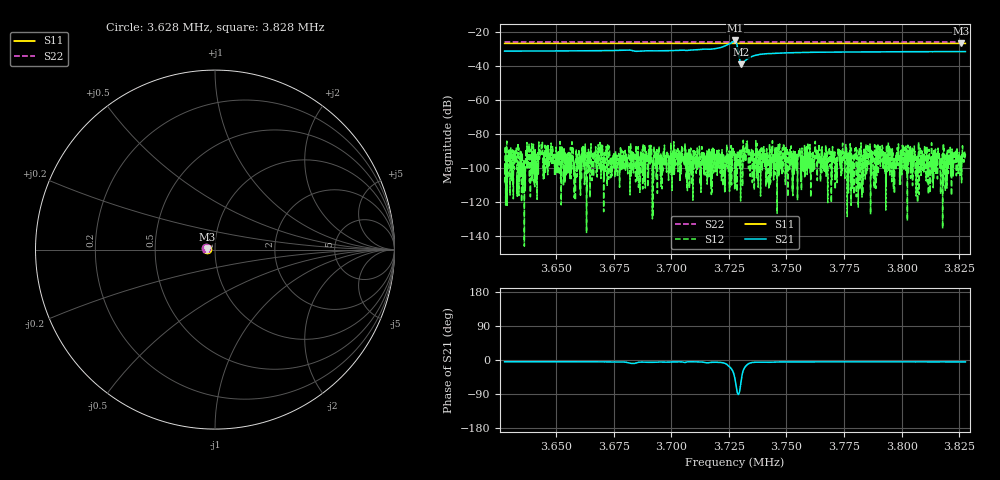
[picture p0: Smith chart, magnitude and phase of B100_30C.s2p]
# Hz S dB R 50.000
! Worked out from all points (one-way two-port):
!   6401 points, 3.628 MHz to 3.828 MHz, reference 50 ohm
!   highest |S21| = -25.01 dB at 3.728 MHz (marker M1); lowest = -39.1 dB at 3.73 MHz (marker M2)
!   lowest |S11| = -26.8 dB at 3.826 MHz (marker M3), VSWR 1.10, Z = 45.6 + j0.344 ohm
!   |S11| at or under -10 dB: start of sweep to end of sweep
!   |S22| runs from -26.0 to -25.9 dB; largest |S21 - S12| = 0.056
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3627656  -26.74 173.6  -31.29 -4.6  -108.75 -87.8  -25.86 172.0
3661000  -26.74 173.9  -31.13 -4.8  -104.38 -173.8  -25.88 172.2
3681156  -26.75 174.1  -30.65 -6.8  -99.18 10.0  -25.89 172.4
3684906  -26.75 174.1  -31.41 -7.2  -92.42 49.5  -25.90 172.5
3694344  -26.75 174.1  -31.11 -5.4  -96.69 105.5  -25.89 172.5
3717594  -26.75 174.3  -30.10 -6.1  -95.82 -103.0  -25.91 172.7
3721844  -26.76 174.4  -29.01 -6.8  -99.68 169.2  -25.91 172.8
3727000  -26.75 174.4  -25.50 -34.1  -90.81 18.0  -25.91 172.8
3727656  -26.75 174.4  -25.01 -50.1  -90.95 78.5  -25.92 172.9
3728344  -26.76 174.4  -26.53 -75.5  -94.36 6.2  -25.91 172.9
3729718  -26.75 174.5  -36.70 -80.2  -96.83 22.7  -25.92 172.8
3730094  -26.75 174.5  -38.49 -64.6  -119.60 91.1  -25.92 172.9
3730468  -26.76 174.5  -39.07 -49.0  -89.34 23.1  -25.92 172.8
3731094  -26.75 174.5  -38.30 -30.3  -93.70 14.3  -25.93 172.9
3732937  -26.76 174.5  -35.96 -12.3  -85.29 35.2  -25.92 172.9
3734812  -26.76 174.5  -34.50 -7.1  -90.60 22.2  -25.92 172.9
3738718  -26.75 174.5  -33.18 -5.6  -105.24 31.7  -25.93 172.9
3747531  -26.75 174.6  -32.43 -5.1  -91.07 23.6  -25.93 173.0
3761000  -26.76 174.7  -32.00 -4.8  -97.43 22.1  -25.93 173.1
3794344  -26.77 175.0  -31.70 -4.5  -96.36 122.8  -25.96 173.4
3825781  -26.78 175.3  -31.57 -5.0  -96.76 40.7  -25.97 173.7
3827656  -26.78 175.3  -31.56 -5.0  -91.95 -84.6  -25.98 173.7
